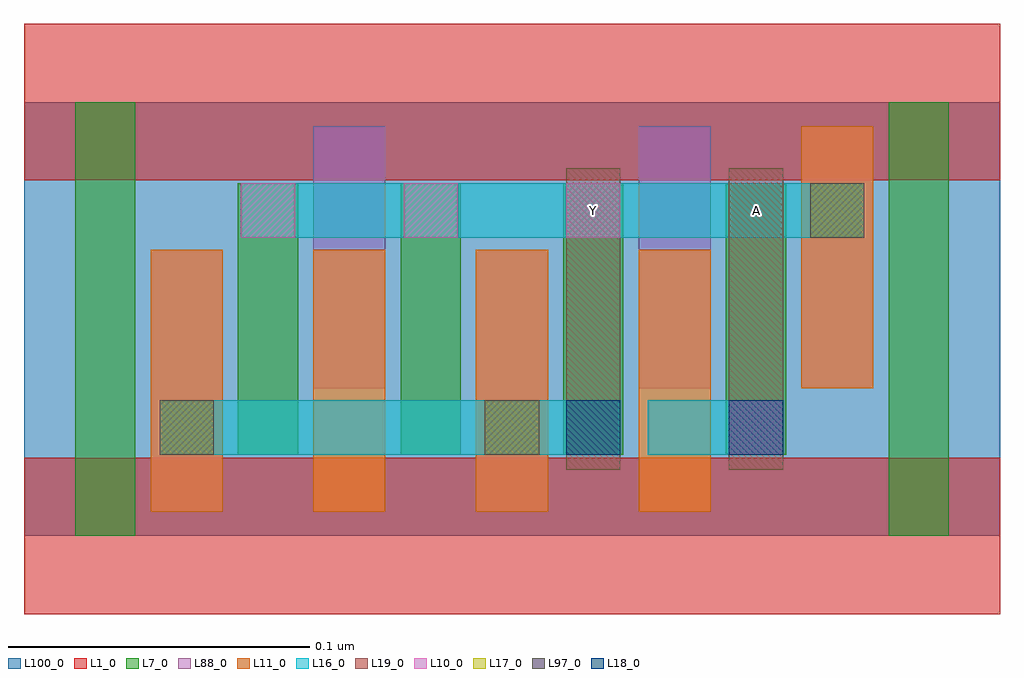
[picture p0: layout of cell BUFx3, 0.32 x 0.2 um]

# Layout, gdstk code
import gdstk
lib = gdstk.Library(unit=1e-6, precision=2.5e-10)
def R(c, l, rs):  # rectangles x0, y0, x1, y1
    for r in rs: c.add(gdstk.rectangle(r[:2], r[2:], *l))
def A(c, l, x, y, w, h, nx, ny, dx, dy):  # array of equal rectangles
    R(c, l, [(x+i*dx, y+j*dy, x+i*dx+w, y+j*dy+h) for i in range(nx) for j in range(ny)])
L1_0 = (1, 0)
L7_0 = (7, 0)
L10_0 = (10, 0)
L11_0 = (11, 0)
L16_0 = (16, 0)
L17_0 = (17, 0)
L18_0 = (18, 0)
L19_0 = (19, 0)
L88_0 = (88, 0)
L97_0 = (97, 0)
L100_0 = (100, 0)

bufx3 = lib.new_cell('BUFx3')
R(bufx3, L1_0, [(0,-0.026,0.324,0.026), (0,0.118,0.324,0.17)])
A(bufx3, L7_0, 0.071, 0.027, 0.02, 0.09, 4, 1, 0.054, 0)
R(bufx3, L7_0, [(0.017,0,0.037,0.144), (0.287,0,0.307,0.144)])
A(bufx3, L10_0, 0.072, 0.099, 0.018, 0.018, 3, 1, 0.054, 0)
R(bufx3, L10_0, [(0.234,0.027,0.252,0.045)])
A(bufx3, L11_0, 0.042, 0.008, 0.024, 0.087, 4, 1, 0.054, 0)
R(bufx3, L11_0, [(0.258,0.049,0.282,0.136)])
R(bufx3, L16_0, [(0.045,0.027,0.198,0.045), (0.207,0.027,0.252,0.045), (0.072,0.099,0.279,0.117)])
R(bufx3, L17_0, [(0.045,0.027,0.063,0.045), (0.153,0.027,0.171,0.045), (0.261,0.099,0.279,0.117)])
R(bufx3, L18_0, [(0.18,0.027,0.198,0.045), (0.234,0.027,0.252,0.045)])
R(bufx3, L19_0, [(0.18,0.022,0.198,0.122), (0.234,0.022,0.252,0.122)])
R(bufx3, L88_0, [(0.042,0.008,0.066,0.095), (0.15,0.008,0.174,0.095), (0.096,0.049,0.12,0.136), (0.204,0.049,0.228,0.136), (0.258,0.049,0.282,0.136)])
R(bufx3, L97_0, [(0.045,0.027,0.063,0.045), (0.153,0.027,0.171,0.045), (0.261,0.099,0.279,0.117)])
R(bufx3, L100_0, [(0,0,0.324,0.144)])
bufx3.add(gdstk.Label('A', (0.243,0.108), layer=19, texttype=251))
bufx3.add(gdstk.Label('Y', (0.189,0.108), layer=19, texttype=251))

lib.write_gds('BUFx3.gds')
